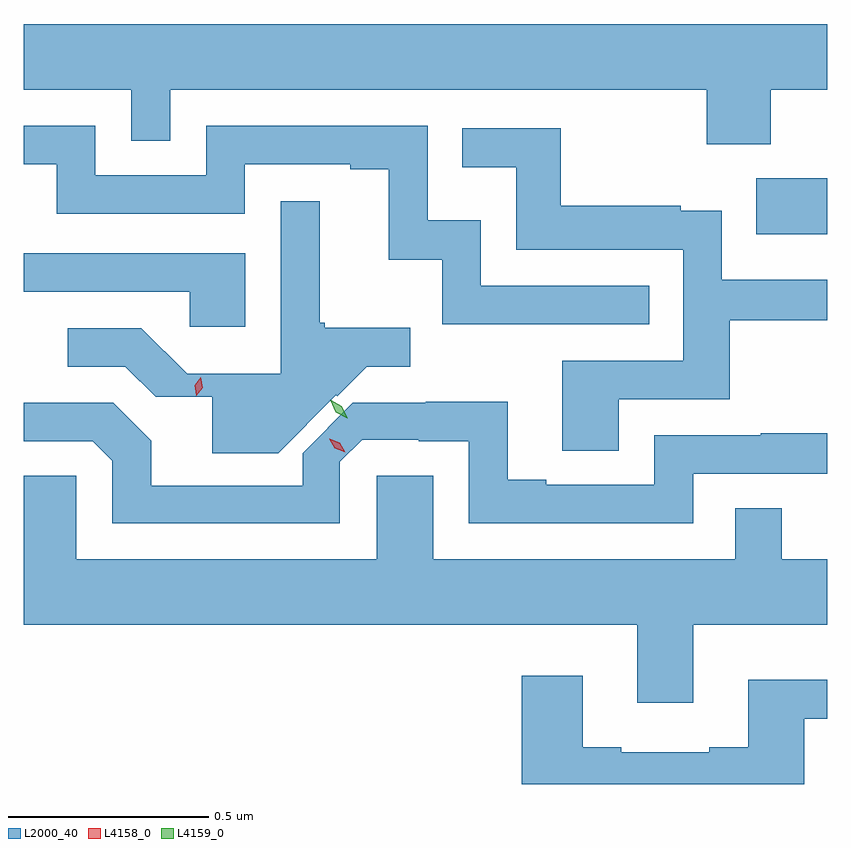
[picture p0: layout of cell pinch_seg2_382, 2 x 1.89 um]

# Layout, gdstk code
import gdstk
lib = gdstk.Library(unit=1e-6, precision=1e-09)
def R(c, l, rs):  # rectangles x0, y0, x1, y1
    for r in rs: c.add(gdstk.rectangle(r[:2], r[2:], *l))
def P(c, l, *ps):  # polygons
    for p in ps: c.add(gdstk.Polygon(p, *l))
L2000_40 = (2000, 40)
L4158_0 = (4158, 0)
L4159_0 = (4159, 0)

pinch_seg2_382 = lib.new_cell('pinch_seg2_382')
R(pinch_seg2_382, L2000_40, [(1003.111,624.632,1003.288,624.772)])
P(pinch_seg2_382, L2000_40, [(1003.148,624.992),(1003.288,624.992),(1003.288,625.156),(1001.288,625.156),(1001.288,624.992),(1001.556,624.992),(1001.556,624.865),(1001.652,624.865),(1001.652,624.992),(1002.988,624.992),(1002.988,624.857),(1003.148,624.857)],
  [(1002.845,624.504),(1002.426,624.504),(1002.426,624.667),(1002.294,624.667),(1002.294,624.903),(1001.742,624.903),(1001.742,624.78),(1001.466,624.78),(1001.466,624.903),(1001.288,624.903),(1001.288,624.807),(1001.37,624.807),(1001.37,624.684),(1001.838,624.684),(1001.838,624.807),(1002.101,624.807),(1002.101,624.795),(1002.197,624.795),(1002.197,624.569),(1002.33,624.569),(1002.33,624.408),(1002.845,624.408)],
  [(1002.769,624.222),(1003.046,624.222),(1003.046,624.418),(1003.288,624.418),(1003.288,624.519),(1003.026,624.519),(1003.026,624.691),(1002.923,624.691),(1002.923,624.703),(1002.625,624.703),(1002.625,624.897),(1002.379,624.897),(1002.379,624.8),(1002.514,624.8),(1002.514,624.594),(1002.93,624.594),(1002.93,624.318),(1002.629,624.318),(1002.629,624.094),(1002.769,624.094)],
  [(1002.065,624.232),(1002.068,624.229),(1002.142,624.303),(1002.25,624.303),(1002.25,624.4),(1002.037,624.4),(1002.037,624.412),(1002.025,624.412),(1002.025,624.715),(1001.928,624.715),(1001.928,624.285),(1001.695,624.285),(1001.58,624.399),(1001.397,624.399),(1001.397,624.303),(1001.541,624.303),(1001.616,624.228),(1001.757,624.228),(1001.757,624.088),(1001.922,624.088)],
  [(1001.839,624.585),(1001.288,624.585),(1001.288,624.489),(1001.701,624.489),(1001.701,624.402),(1001.839,624.402)],
  [(1002.075,624.066),(1002.13,624.121),(1002.271,624.121),(1002.271,624.117),(1002.396,624.117),(1002.396,623.913),(1002.954,623.913),(1002.954,624.036),(1003.288,624.036),(1003.288,624.137),(1003.123,624.137),(1003.123,624.132),(1002.858,624.132),(1002.858,624.009),(1002.589,624.009),(1002.589,624.022),(1002.493,624.022),(1002.493,624.215),(1002.288,624.215),(1002.288,624.213),(1002.107,624.213),(1001.982,624.088),(1001.982,624.006),(1001.605,624.006),(1001.605,624.119),(1001.511,624.213),(1001.288,624.213),(1001.288,624.117),(1001.46,624.117),(1001.508,624.069),(1001.508,623.913),(1002.075,623.913)],
  [(1002.955,623.66),(1003.288,623.66),(1003.288,623.824),(1003.175,623.824),(1003.175,623.951),(1003.059,623.951),(1003.059,623.824),(1002.307,623.824),(1002.307,624.032),(1002.167,624.032),(1002.167,623.824),(1001.418,623.824),(1001.418,624.032),(1001.288,624.032),(1001.288,623.66),(1002.815,623.66),(1002.815,623.466),(1002.955,623.466)],
  [(1003.231,623.427),(1003.288,623.427),(1003.288,623.524),(1003.091,623.524),(1003.091,623.356),(1002.995,623.356),(1002.995,623.343),(1002.775,623.343),(1002.775,623.356),(1002.679,623.356),(1002.679,623.533),(1002.527,623.533),(1002.527,623.264),(1003.231,623.264)])
P(pinch_seg2_382, L4158_0, [(1002.088,624.09),(1002.062,624.1),(1002.049,624.124),(1002.049,624.124),(1002.05,624.124),(1002.075,624.114),(1002.088,624.09),(1002.088,624.09)],
  [(1001.717,624.231),(1001.717,624.232),(1001.713,624.257),(1001.729,624.276),(1001.729,624.276),(1001.729,624.276),(1001.733,624.251),(1001.717,624.231)])
P(pinch_seg2_382, L4159_0, [(1002.093,624.174),(1002.065,624.19),(1002.051,624.22),(1002.051,624.221),(1002.051,624.221),(1002.08,624.204),(1002.094,624.174),(1002.094,624.174)])

lib.write_gds('pinch_seg2_382.gds')
